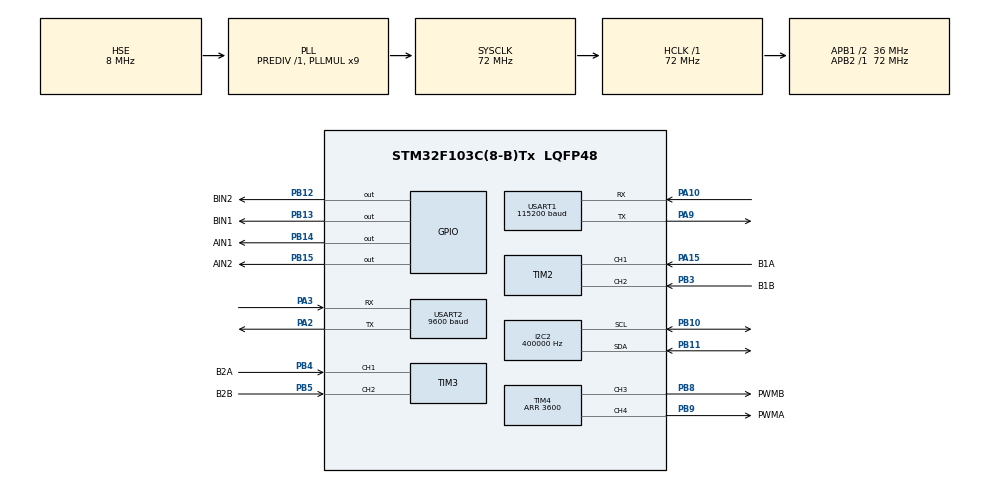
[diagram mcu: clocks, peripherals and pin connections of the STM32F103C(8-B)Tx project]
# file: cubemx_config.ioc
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I2C2.ClockSpeed=400000
Mcu.Family=STM32F1
Mcu.Name=STM32F103C(8-B)Tx
Mcu.Package=LQFP48
NVIC.PriorityGroup=NVIC_PRIORITYGROUP_4
NVIC.USART2_IRQn=true\:0\:0\:false\:false\:true\:true\:true\:true
PA10.Mode=Asynchronous
PA10.Signal=USART1_RX
PA13.Mode=Serial_Wire
PA13.Signal=SYS_JTMS-SWDIO
PA14.Mode=Serial_Wire
PA14.Signal=SYS_JTCK-SWCLK
PA15.GPIO_Label=B1A
PA15.Signal=S_TIM2_CH1_ETR
PA2.Mode=Asynchronous
PA2.Signal=USART2_TX
PA3.Mode=Asynchronous
PA3.Signal=USART2_RX
PA9.Mode=Asynchronous
PA9.Signal=USART1_TX
PB10.Mode=I2C
PB10.Signal=I2C2_SCL
PB11.Mode=I2C
PB11.Signal=I2C2_SDA
PB12.GPIO_Label=BIN2
PB12.GPIO_ModeDefaultOutputPP=GPIO_MODE_OUTPUT_PP
PB12.GPIO_Speed=GPIO_SPEED_FREQ_HIGH
PB12.Signal=GPIO_Output
PB13.GPIO_Label=BIN1
PB13.GPIO_Speed=GPIO_SPEED_FREQ_HIGH
PB13.Signal=GPIO_Output
PB14.GPIO_Label=AIN1
PB14.GPIO_Speed=GPIO_SPEED_FREQ_HIGH
PB14.Signal=GPIO_Output
PB15.GPIO_Label=AIN2
PB15.GPIO_Speed=GPIO_SPEED_FREQ_HIGH
PB15.Signal=GPIO_Output
PB3.GPIO_Label=B1B
PB3.Signal=S_TIM2_CH2
PB4.GPIO_Label=B2A
PB4.Signal=S_TIM3_CH1
PB5.GPIO_Label=B2B
PB5.Signal=S_TIM3_CH2
PB8.GPIO_Label=PWMB
PB8.GPIO_Speed=GPIO_SPEED_FREQ_HIGH
PB8.Signal=S_TIM4_CH3
PB9.GPIO_Label=PWMA
PB9.GPIO_Speed=GPIO_SPEED_FREQ_HIGH
PB9.Signal=S_TIM4_CH4
PD0-OSC_IN.Mode=HSE-External-Oscillator
PD0-OSC_IN.Signal=RCC_OSC_IN
PD1-OSC_OUT.Mode=HSE-External-Oscillator
PD1-OSC_OUT.Signal=RCC_OSC_OUT
ProjectManager.HeapSize=0x200
ProjectManager.StackSize=0x400
ProjectManager.TargetToolchain=MDK-ARM V5.27
RCC.AHBFreq_Value=72000000
RCC.APB1CLKDivider=RCC_HCLK_DIV2
RCC.APB1Freq_Value=36000000
RCC.APB1TimFreq_Value=72000000
RCC.APB2Freq_Value=72000000
RCC.APB2TimFreq_Value=72000000
RCC.HCLKFreq_Value=72000000
RCC.PLLMUL=RCC_PLL_MUL9
RCC.PLLSourceVirtual=RCC_PLLSOURCE_HSE
RCC.SYSCLKFreq_VALUE=72000000
RCC.SYSCLKSource=RCC_SYSCLKSOURCE_PLLCLK
RCC.USBFreq_Value=72000000
SH.S_TIM2_CH1_ETR.0=TIM2_CH1,Encoder_Interface
SH.S_TIM2_CH2.0=TIM2_CH2,Encoder_Interface
SH.S_TIM3_CH1.0=TIM3_CH1,Encoder_Interface
SH.S_TIM3_CH2.0=TIM3_CH2,Encoder_Interface
SH.S_TIM4_CH3.0=TIM4_CH3,PWM Generation3 CH3
SH.S_TIM4_CH4.0=TIM4_CH4,PWM Generation4 CH4
TIM1.Period=49
TIM1.Prescaler=7199
TIM2.EncoderMode=TIM_ENCODERMODE_TI12
TIM3.EncoderMode=TIM_ENCODERMODE_TI12
TIM4.AutoReloadPreload=TIM_AUTORELOAD_PRELOAD_ENABLE
TIM4.Channel-PWM\ Generation3\ CH3=TIM_CHANNEL_3
TIM4.Channel-PWM\ Generation4\ CH4=TIM_CHANNEL_4
TIM4.Period=3600
USART1.BaudRate=115200
USART1.VirtualMode=VM_ASYNC
USART2.BaudRate=9600
USART2.VirtualMode=VM_ASYNC
VP_TIM1_VS_ClockSourceINT.Mode=Internal
VP_TIM4_VS_ClockSourceINT.Mode=Internal
board=custom

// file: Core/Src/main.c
/* USER CODE BEGIN Header */
/**
  ******************************************************************************
  * @file           : main.c
  * @brief          : Main program body
  ******************************************************************************
  * @attention
  *
  * Copyright (c) 2026 STMicroelectronics.
  * All rights reserved.
  *
  * This software is licensed under terms that can be found in the LICENSE file
  * in the root directory of this software component.
  * If no LICENSE file comes with this software, it is provided AS-IS.
  *
  ******************************************************************************
  */
/* USER CODE END Header */
#include "main.h"
#include "i2c.h"
#include "tim.h"
#include "usart.h"
#include "gpio.h"

/* USER CODE BEGIN Includes */
#include <stdio.h>
#include <string.h>
#include "pt_public.h"
#include "bt_uart.h"
#include "display.h"
#include "oled.h"
#include "pt_mpu6050.h"
#include "encode.h"
#include "tb6612.h"
#include "app_rtos.h"

/* USER CODE END Includes */

/* USER CODE BEGIN PD */
PtGlobalData_t gGlobalData;

/* USER CODE END PD */

void SystemClock_Config(void);

/* USER CODE BEGIN 0 */
/* USART2 RX/error callbacks live in bt_uart.c so they survive CubeMX regeneration. */
/* USER CODE END 0 */

int main(void)
{

    HAL_Init();

    SystemClock_Config();

    MX_GPIO_Init();
    MX_I2C2_Init();
    MX_TIM1_Init();
    MX_TIM2_Init();
    MX_TIM3_Init();
    MX_TIM4_Init();
    MX_USART1_UART_Init();
    MX_USART2_UART_Init();
    /* USER CODE BEGIN 2 */
    /* PWM starts at zero. ARM is requested explicitly over Bluetooth. */
    startpwm();
    setpwm(0, 0);
    Motor_Stop();
    HAL_TIM_Encoder_Start(&htim2, TIM_CHANNEL_ALL);
    HAL_TIM_Encoder_Start(&htim3, TIM_CHANNEL_ALL);
    Display_Init();
    Display_ShowStartupPage();
    if (MPU6050_Init() != 0) {
        Error_Handler();
    }
    BT_UART_Init();
    App_RTOS_Start();
    /* USER CODE END 2 */

    /* Infinite loop */
    while (1)
    {

    }
}

void SystemClock_Config(void)
{
    RCC_OscInitTypeDef RCC_OscInitStruct = {0};
    RCC_ClkInitTypeDef RCC_ClkInitStruct = {0};

    /** Initializes the RCC Oscillators according to the specified parameters
    * in the RCC_OscInitTypeDef structure.
    */
    RCC_OscInitStruct.OscillatorType = RCC_OSCILLATORTYPE_HSE;
    RCC_OscInitStruct.HSEState = RCC_HSE_ON;
    RCC_OscInitStruct.HSEPredivValue = RCC_HSE_PREDIV_DIV1;
    RCC_OscInitStruct.HSIState = RCC_HSI_ON;
    RCC_OscInitStruct.PLL.PLLState = RCC_PLL_ON;
    RCC_OscInitStruct.PLL.PLLSource = RCC_PLLSOURCE_HSE;
    RCC_OscInitStruct.PLL.PLLMUL = RCC_PLL_MUL9;
    if (HAL_RCC_OscConfig(&RCC_OscInitStruct) != HAL_OK)
    {
        Error_Handler();
    }

    /** Initializes the CPU, AHB and APB buses clocks
    */
    RCC_ClkInitStruct.ClockType = RCC_CLOCKTYPE_HCLK | RCC_CLOCKTYPE_SYSCLK
                                  | RCC_CLOCKTYPE_PCLK1 | RCC_CLOCKTYPE_PCLK2;
    RCC_ClkInitStruct.SYSCLKSource = RCC_SYSCLKSOURCE_PLLCLK;
    RCC_ClkInitStruct.AHBCLKDivider = RCC_SYSCLK_DIV1;
    RCC_ClkInitStruct.APB1CLKDivider = RCC_HCLK_DIV2;
    RCC_ClkInitStruct.APB2CLKDivider = RCC_HCLK_DIV1;

    if (HAL_RCC_ClockConfig(&RCC_ClkInitStruct, FLASH_LATENCY_2) != HAL_OK)
    {
        Error_Handler();
    }
}

void Error_Handler(void)
{
    /* USER CODE BEGIN Error_Handler_Debug */
    /* User can add his own implementation to report the HAL error return state */
    __disable_irq();
    if (htim4.Instance != NULL) {
        setpwm(0, 0);
    }
    Motor_Stop();
    while (1)
    {
    }
    /* USER CODE END Error_Handler_Debug */
}
